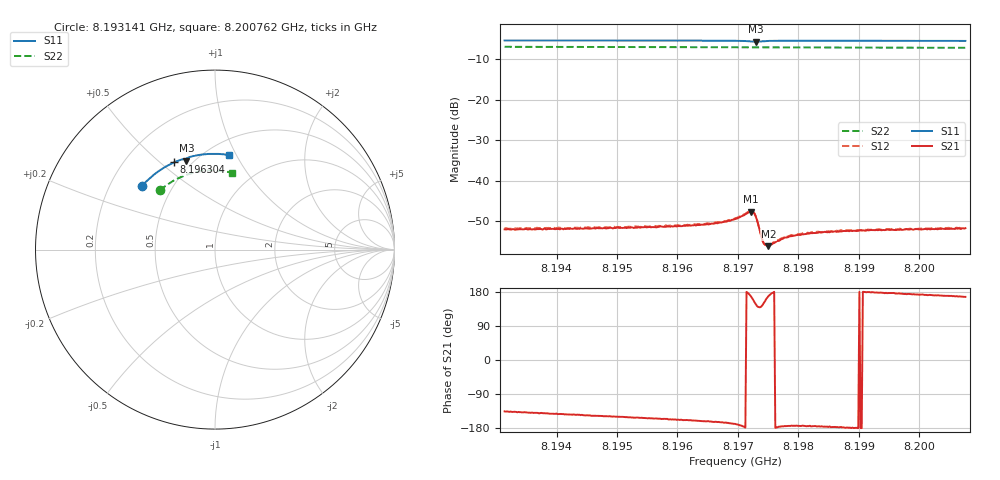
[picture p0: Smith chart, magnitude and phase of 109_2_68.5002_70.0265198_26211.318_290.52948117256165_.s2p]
#  HZ  S  RI  R  50.00
! Rohde & Schwarz Vector Network Analyzer
! Rohde-Schwarz,ZNB20-2Port,1311601062101988,3.16
! Created: UTC 3/20/2024, 4:53:23 PM
! freq[Hz]  re:S11  im:S11  re:S21  im:S21  re:S12  im:S12  re:S22  im:S22
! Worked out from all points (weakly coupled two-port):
!   401 points, 8.193141 GHz to 8.200762 GHz, reference 50 ohm
!   highest |S21| = -47.56 dB at 8.197218 GHz (marker M1); lowest = -56.1 dB at 8.197504 GHz (marker M2)
!   lowest |S11| = -5.7 dB at 8.197294 GHz (marker M3), VSWR 3.17, Z = 23 + j31.1 ohm
!   |S11| at or under -10 dB: nowhere
!   |S22| runs from -7.2 to -6.9 dB; largest |S21 - S12| = 0.00022
!   S11 on the Smith chart (normalised r, x): 8.193141 GHz: 0.34, +0.34; 8.196304 GHz: 0.41, +0.56; 8.200762 GHz: 0.64, +0.93
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8.193141e9  -0.4062 0.3547  -0.0018 -0.00177  -0.0019 -0.00176  -0.3066 0.3299
8.1944175e9  -0.3409 0.4168  -0.00211 -0.0015  -0.00223 -0.00147  -0.2498 0.3727
8.195694e9  -0.266 0.467  -0.00246 -0.00114  -0.00259 -0.00106  -0.1868 0.4058
8.1963036e9  -0.227 0.4864  -0.00265 -0.000959  -0.00276 -0.000865  -0.155 0.418
8.1967418e9  -0.197 0.4983  -0.00298 -0.000842  -0.00308 -0.000719  -0.1315 0.4252
8.1969514e9  -0.1813 0.5029  -0.00331 -0.00067  -0.00342 -0.000524  -0.1199 0.4281
8.19718e9  -0.1613 0.5023  -0.00409 0.000401  -0.00414 0.000573  -0.1075 0.4309
8.1972181e9  -0.1586 0.4999  -0.00409 0.000922  -0.00411 0.0011  -0.1053 0.4312
8.1972562e9  -0.1579 0.4969  -0.00378 0.00155  -0.00378 0.00172  -0.1034 0.4316
8.1972943e9  -0.1595 0.495  -0.00307 0.00197  -0.00304 0.00211  -0.1014 0.4321
8.1973324e9  -0.1618 0.4962  -0.00227 0.0019  -0.00221 0.002  -0.0992 0.4326
8.1973896e9  -0.1624 0.5011  -0.00159 0.00126  -0.00158 0.00131  -0.0963 0.4331
8.1974277e9  -0.1606 0.5044  -0.00147 0.000827  -0.00144 0.000929  -0.0942 0.4337
8.1974658e9  -0.158 0.5071  -0.00152 0.000539  -0.0015 0.000616  -0.0921 0.4339
8.1975039e9  -0.1552 0.5093  -0.00154 0.000311  -0.00154 0.000395  -0.09 0.4345
8.1977135e9  -0.139 0.5165  -0.0019 -0.000157  -0.00194 -6.88e-05  -0.0783 0.4363
8.1978087e9  -0.1318 0.5185  -0.002 -0.000203  -0.00205 -0.000107  -0.0729 0.4372
8.1980754e9  -0.1124 0.5232  -0.00218 -0.000258  -0.00227 -0.000145  -0.0579 0.439
8.1982279e9  -0.1016 0.5254  -0.00226 -0.000204  -0.00234 -0.000124  -0.0494 0.4399
8.1987804e9  -0.0622 0.531  -0.00241 -4.64e-05  -0.00244 4.35e-05  -0.0183 0.4412
8.1995043e9  -0.0108 0.5337  -0.00249 0.000145  -0.00253 0.000288  0.0228 0.4396
8.2007618e9  0.0779 0.5267  -0.00254 0.000608  -0.0025 0.000683  0.0932 0.4277
